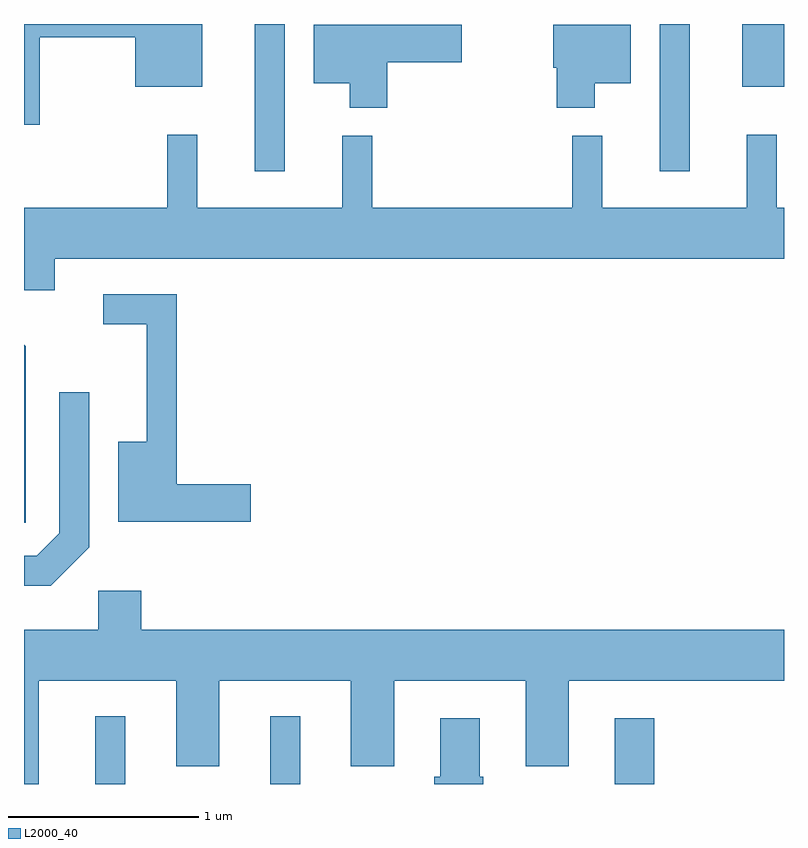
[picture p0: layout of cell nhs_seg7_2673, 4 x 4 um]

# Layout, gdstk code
import gdstk
lib = gdstk.Library(unit=1e-6, precision=1e-09)
def R(c, l, rs):  # rectangles x0, y0, x1, y1
    for r in rs: c.add(gdstk.rectangle(r[:2], r[2:], *l))
def P(c, l, *ps):  # polygons
    for p in ps: c.add(gdstk.Polygon(p, *l))
L2000_40 = (2000, 40)

nhs_seg7_2673 = lib.new_cell('nhs_seg7_2673')
R(nhs_seg7_2673, L2000_40, [(267.986,1678.252,268.144,1678.608), (268.906,1678.252,269.064,1678.608), (270.721,1678.252,270.929,1678.599), (268.826,1681.478,268.984,1682.252), (270.956,1681.478,271.114,1682.252), (271.391,1681.921,271.611,1682.252)])
P(nhs_seg7_2673, L2000_40, [(267.694,1682.181),(268.196,1682.181),(268.196,1681.921),(268.549,1681.921),(268.549,1682.252),(267.611,1682.252),(267.611,1681.721),(267.694,1681.721)],
  [(269.524,1682.051),(269.914,1682.051),(269.914,1682.249),(269.136,1682.249),(269.136,1681.941),(269.326,1681.941),(269.326,1681.811),(269.524,1681.811)],
  [(270.614,1681.941),(270.804,1681.941),(270.804,1682.249),(270.396,1682.249),(270.396,1682.021),(270.416,1682.021),(270.416,1681.811),(270.614,1681.811)],
  [(267.774,1681.016),(271.611,1681.016),(271.611,1681.284),(271.574,1681.284),(271.574,1681.668),(271.416,1681.668),(271.416,1681.284),(270.654,1681.284),(270.654,1681.663),(270.496,1681.663),(270.496,1681.284),(269.444,1681.284),(269.444,1681.663),(269.286,1681.663),(269.286,1681.284),(268.524,1681.284),(268.524,1681.668),(268.366,1681.668),(268.366,1681.284),(267.611,1681.284),(267.611,1680.851),(267.774,1680.851)],
  [(268.804,1679.829),(268.414,1679.829),(268.414,1680.829),(268.028,1680.829),(268.028,1680.671),(268.256,1680.671),(268.256,1680.054),(268.106,1680.054),(268.106,1679.631),(268.804,1679.631)],
  [(267.619,1680.557),(267.611,1680.565),(267.611,1679.626),(267.619,1679.626)],
  [(267.954,1679.499),(267.954,1680.313),(267.796,1680.313),(267.796,1679.572),(267.679,1679.454),(267.611,1679.454),(267.611,1679.296),(267.752,1679.296)],
  [(267.689,1678.796),(268.411,1678.796),(268.411,1678.346),(268.639,1678.346),(268.639,1678.796),(269.331,1678.796),(269.331,1678.346),(269.559,1678.346),(269.559,1678.796),(270.251,1678.796),(270.251,1678.346),(270.479,1678.346),(270.479,1678.796),(271.611,1678.796),(271.611,1679.064),(268.229,1679.064),(268.229,1679.269),(268.001,1679.269),(268.001,1679.064),(267.611,1679.064),(267.611,1678.252),(267.689,1678.252)],
  [(270.029,1678.289),(270.009,1678.289),(270.009,1678.599),(269.801,1678.599),(269.801,1678.289),(269.771,1678.289),(269.771,1678.252),(270.029,1678.252)])

lib.write_gds('nhs_seg7_2673.gds')
